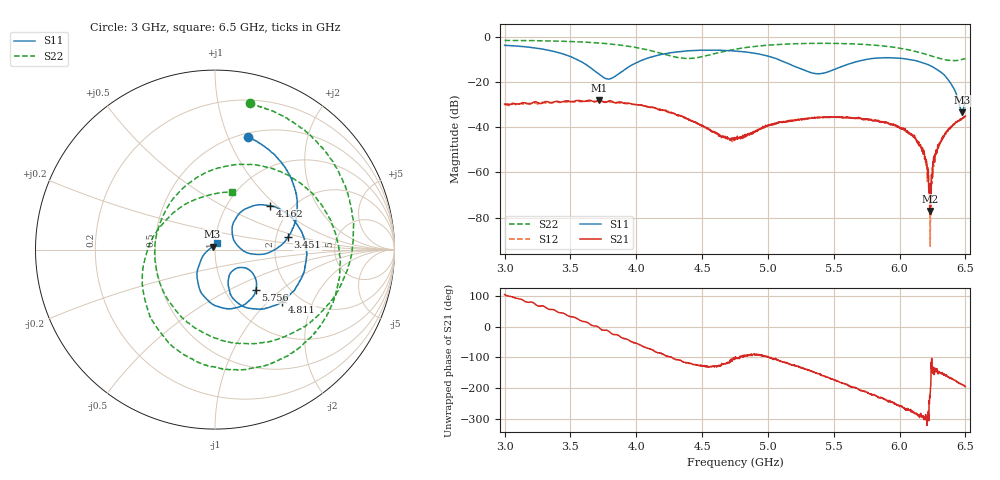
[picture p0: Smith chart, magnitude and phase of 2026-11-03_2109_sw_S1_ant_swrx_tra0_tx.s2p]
! HEWLETT PACKARD,8720ES,MY41003347,7.72, via bringup/vna_tests.py
! sw_S1_ant_swrx_tra0_tx
! measured 2026-11-03 21:10:43, 1601 points, 3000000000-6500000000 Hz, IF bandwidth 1000 Hz, source -40.00 dBm, kit CALK35MD
! board A, CTRL bits {'tr_a': 0} set before each sweep
# HZ S RI R 50
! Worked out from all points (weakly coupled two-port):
!   1601 points, 3 GHz to 6.5 GHz, reference 50 ohm
!   highest |S21| = -27.95 dB at 3.717 GHz (marker M1); lowest = -77.0 dB at 6.233 GHz (marker M2)
!   lowest |S11| = -33.3 dB at 6.474 GHz (marker M3), VSWR 1.04, Z = 48.7 + j1.67 ohm
!   |S11| at or under -10 dB: 3.55 GHz to 4.056 GHz (505.9 MHz wide, 13.3 % of centre); 5.081 GHz to 5.745 GHz (664.6 MHz wide, 12.3 % of centre); 6.075 GHz to end of sweep
!   |S22| runs from -10.5 to -1.5 dB; largest |S21 - S12| = 0.0032
!   S11 on the Smith chart (normalised r, x): 3 GHz: 0.54, +1.18; 3.451 GHz: 2.33, +0.39; 4.162 GHz: 1.57, +0.90; 4.811 GHz: 1.62, -1.21; 5.756 GHz: 1.39, -0.70; 6.5 GHz: 1.02, +0.07
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3e9  0.1832 0.6281  -0.00826 0.0316  -0.00631 0.0313  0.1947 0.8146
3.450625e9  0.4074 0.0703  0.0273 0.0257  0.0277 0.0239  0.7401 0.3093
3.584062e9  0.2807 -0.023  0.0363 0.012  0.0349 0.013  0.7721 0.0721
3.7175e9  0.1495 -0.000702  0.04 -0.00189  0.0373 -0.00207  0.7117 -0.1728
3.802812e9  0.1019 0.0617  0.0365 -0.0126  0.0343 -0.0114  0.6223 -0.3134
3.97125e9  0.1363 0.2013  0.0206 -0.0252  0.0212 -0.0244  0.332 -0.5057
4.161562e9  0.3062 0.2441  0.00246 -0.0252  0.00308 -0.0259  -0.0977 -0.4449
4.168125e9  0.3124 0.2433  0.0021 -0.0248  0.00201 -0.0257  -0.1117 -0.4368
4.415312e9  0.4941 0.0726  -0.0071 -0.0121  -0.00741 -0.0121  -0.3212 0.1008
4.75e9  0.4215 -0.2483  -0.00106 -0.00552  -0.0013 -0.00516  0.2628 0.4633
4.81125e9  0.372 -0.2905  -0.000386 -0.0063  -0.00095 -0.00575  0.3763 0.4283
5.069375e9  0.1292 -0.299  -0.0037 -0.0119  -0.00369 -0.0118  0.6735 0.0823
5.334062e9  0.082 -0.1376  -0.0133 -0.00916  -0.0136 -0.00945  0.6376 -0.3358
5.75625e9  0.2284 -0.2271  -0.0125 0.00859  -0.0119 0.00877  0.0974 -0.67
5.918125e9  0.1434 -0.3156  -0.00494 0.011  -0.00535 0.0108  -0.1693 -0.5869
6.1325e9  -0.0301 -0.2929  0.00136 0.00496  0.00132 0.00471  -0.3967 -0.2487
6.182812e9  -0.0649 -0.255  0.00113 0.00234  0.00123 0.0023  -0.4048 -0.1414
6.233125e9  -0.0878 -0.215  -0.000115 8.07e-05  -3.99e-06 -2.3e-05  -0.3829 -0.0293
6.268125e9  -0.0956 -0.1793  -0.00162 -0.00161  -0.00168 -0.00129  -0.3568 0.0452
6.303125e9  -0.101 -0.1431  -0.00369 -0.0021  -0.00341 -0.00226  -0.3167 0.114
6.47375e9  -0.0132 0.0172  -0.0153 0.00246  -0.0152 0.00266  0.0311 0.3169
6.5e9  0.0133 0.0361  -0.0171 0.00485  -0.017 0.00447  0.0942 0.3195
